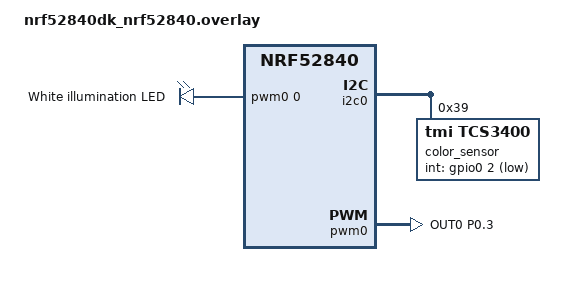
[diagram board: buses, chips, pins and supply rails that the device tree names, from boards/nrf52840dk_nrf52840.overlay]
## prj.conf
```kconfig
CONFIG_LOG=y

# The white illumination LED is driven by a PWM channel rather than a plain
# GPIO, so brightness can be swept against the sensor's response.
CONFIG_PWM=y

# The sample's runtime controls (gain, integration time, LED level) are
# exposed as shell commands.
CONFIG_SHELL=y
```

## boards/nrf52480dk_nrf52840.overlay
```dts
/ {
	aliases {
		i2c0 = &i2c0;
	};
};

&i2c0 {
	status = "okay";
	pinctrl-0 = <&i2c0_default>;
	pinctrl-1 = <&i2c0_sleep>;
	pinctrl-names = "default", "sleep";

	p1: tcs3400@58 {
		compatible = "tmi,tcs3400";
		reg = <0x58>;
		status = "okay";
		label = "TCS3400";
	};
};
```

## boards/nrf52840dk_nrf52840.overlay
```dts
#include <zephyr/dt-bindings/gpio/gpio.h>
#include <zephyr/dt-bindings/pwm/pwm.h>

/*
 * TCS3400 on i2c0 (P0.26 SDA / P0.27 SCL, the DK defaults), with its INT
 * output on P0.02 and the white illumination LED driven from pwm0 channel 0
 * on P0.03.
 */

&pinctrl {
	pwm0_tcs3400_default: pwm0_tcs3400_default {
		group1 {
			psels = <NRF_PSEL(PWM_OUT0, 0, 3)>;
		};
	};

	pwm0_tcs3400_sleep: pwm0_tcs3400_sleep {
		group1 {
			psels = <NRF_PSEL(PWM_OUT0, 0, 3)>;
			low-power-enable;
		};
	};
};

&i2c0 {
	status = "okay";
	pinctrl-0 = <&i2c0_default>;
	pinctrl-1 = <&i2c0_sleep>;
	pinctrl-names = "default", "sleep";

	/*
	 * The INT output is open-drain and active-low, so it needs a pull-up.
	 * The internal one is requested here rather than fitting an external
	 * resistor, since this is the only device on the line.
	 *
	 * 4x gain over 64 integration cycles (178 ms) is a starting point for
	 * a close-range target under the white LED, not a calibrated setting.
	 * The sample retunes both at runtime through SENSOR_ATTR_GAIN and
	 * SENSOR_ATTR_OVERSAMPLING.
	 */
	color_sensor: tcs3400@39 {
		compatible = "tmi,tcs3400";
		status = "okay";
		reg = <0x39>;
		int-gpios = <&gpio0 2 (GPIO_ACTIVE_LOW | GPIO_PULL_UP)>;
		gain-x = <4>;
		integration-cycles = <64>;
	};
};

&pwm0 {
	status = "okay";
	pinctrl-0 = <&pwm0_tcs3400_default>;
	pinctrl-1 = <&pwm0_tcs3400_sleep>;
	pinctrl-names = "default", "sleep";
};

/ {
	/*
	 * The LED driver takes a single PWM input that acts as both its enable
	 * and its brightness control, so there is no separate enable GPIO -- a
	 * 0% duty cycle is off.
	 *
	 * A 1 ms period puts ~178 full PWM cycles inside the shortest
	 * integration window the sensor is configured for, so brightness is
	 * averaged out rather than beating against the conversion.
	 */
	pwmleds {
		compatible = "pwm-leds";

		white_pwm_led: white_pwm_led {
			pwms = <&pwm0 0 PWM_MSEC(1) PWM_POLARITY_NORMAL>;
			label = "White illumination LED";
		};
	};

	aliases {
		color-sensor = &color_sensor;
		white-led-pwm = &white_pwm_led;
	};
};
```

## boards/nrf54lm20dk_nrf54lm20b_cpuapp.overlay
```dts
#include <zephyr/dt-bindings/gpio/gpio.h>
#include <zephyr/dt-bindings/pwm/pwm.h>

/*
 * Two SoC constraints drive every pin choice below.
 *
 * PWM20/21/22 are the only PWM instances that share a power domain with a
 * GPIO port, and that domain covers P1 and P3 only -- a PWM output routed to
 * P0 or P2 simply never appears on the pin. The white LED therefore has to
 * be driven from P1 or P3.
 *
 * i2c20 and uart20 share one address, and uart20 is the DK's console, so
 * i2c21 is the lowest TWIM instance actually free to use.
 *
 * Everything else is kept on P1 so the whole sample lands on one bank of the
 * DK's GPIO header.
 *
 * P0.00/P0.01 are the DK's LFXO crystal pins and are not general-purpose
 * I/O; nothing here uses them.
 *
 *   SDA   P1.12      SCL   P1.13
 *   INT   P1.10      LED   P1.11
 */

&pinctrl {
	i2c21_tcs3400_default: i2c21_tcs3400_default {
		group1 {
			psels = <NRF_PSEL(TWIM_SDA, 1, 12)>,
				<NRF_PSEL(TWIM_SCL, 1, 13)>;
			bias-pull-up;
		};
	};

	i2c21_tcs3400_sleep: i2c21_tcs3400_sleep {
		group1 {
			psels = <NRF_PSEL(TWIM_SDA, 1, 12)>,
				<NRF_PSEL(TWIM_SCL, 1, 13)>;
			low-power-enable;
		};
	};

	pwm21_tcs3400_default: pwm21_tcs3400_default {
		group1 {
			psels = <NRF_PSEL(PWM_OUT0, 1, 11)>;
		};
	};

	pwm21_tcs3400_sleep: pwm21_tcs3400_sleep {
		group1 {
			psels = <NRF_PSEL(PWM_OUT0, 1, 11)>;
			low-power-enable;
		};
	};
};

&i2c21 {
	status = "okay";
	pinctrl-0 = <&i2c21_tcs3400_default>;
	pinctrl-1 = <&i2c21_tcs3400_sleep>;
	pinctrl-names = "default", "sleep";

	/*
	 * The INT output is open-drain and active-low, so it needs a pull-up.
	 * The internal one is requested here rather than fitting an external
	 * resistor, since this is the only device on the line.
	 *
	 * 4x gain over 64 integration cycles (178 ms) is a starting point for
	 * a close-range target under the white LED, not a calibrated setting.
	 * The sample retunes both at runtime through SENSOR_ATTR_GAIN and
	 * SENSOR_ATTR_OVERSAMPLING; the driver logs a warning when the
	 * channels saturate.
	 */
	color_sensor: tcs3400@39 {
		compatible = "tmi,tcs3400";
		status = "okay";
		reg = <0x39>;
		int-gpios = <&gpio1 10 (GPIO_ACTIVE_LOW | GPIO_PULL_UP)>;
		gain-x = <4>;
		integration-cycles = <64>;
	};
};

&pwm21 {
	status = "okay";
	pinctrl-0 = <&pwm21_tcs3400_default>;
	pinctrl-1 = <&pwm21_tcs3400_sleep>;
	pinctrl-names = "default", "sleep";
};

/ {
	/*
	 * The LED driver takes a single PWM input that acts as both its enable
	 * and its brightness control, so there is no separate enable GPIO -- a
	 * 0% duty cycle is off.
	 *
	 * Merges into the board's existing pwmleds node. A 1 ms period puts
	 * ~178 full PWM cycles inside the shortest integration window the
	 * sensor is configured for, so brightness is averaged out rather than
	 * beating against the conversion.
	 */
	pwmleds {
		compatible = "pwm-leds";

		white_pwm_led: white_pwm_led {
			pwms = <&pwm21 0 PWM_MSEC(1) PWM_POLARITY_NORMAL>;
			label = "White illumination LED";
		};
	};

	aliases {
		color-sensor = &color_sensor;
		white-led-pwm = &white_pwm_led;
	};
};
```

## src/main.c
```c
/*
 * Copyright (c) 2026 Trudell Medical International
 * SPDX-License-Identifier: Apache-2.0
 *
 * TCS3400 RGBC colour sensor sample.
 *
 * Exercises the tmi,tcs3400 driver against a white illumination LED on a PWM
 * channel. The board overlay supplies both: a "color-sensor" alias for the
 * sensor node and a "white-led-pwm" alias for the LED.
 *
 * The LED ramps up and down continuously and samples stream out in teleplot
 * format (">name:value" per line) for the VS Code serial plotter, so the plot
 * sweeps the sensor's range against a known stimulus. One ramp step per
 * sample keeps the light level and the reading in lockstep. Sampling is
 * driven by the data-ready interrupt where the overlay wires an int-gpios
 * pin, and by polling otherwise.
 *
 * Gain, integration time and LED level can be retuned at runtime through the
 * "colour" shell command.
 */

#include <zephyr/kernel.h>
#include <zephyr/device.h>
#include <zephyr/drivers/pwm.h>
#include <zephyr/drivers/sensor.h>
#include <zephyr/logging/log.h>
#include <zephyr/shell/shell.h>
#include <stdlib.h>

LOG_MODULE_REGISTER(tcs3400_sample);

/*
 * Brightness change per sample, as a percentage of full scale. 2% puts a
 * full up-and-down sweep in 100 samples, which is about 18 s at the
 * overlay's default 64 integration cycles.
 */
#define RAMP_STEP_PCT 2

/*
 * Longest a conversion can take: 256 integration cycles at 2.78 ms, plus
 * margin. Used as the interrupt wait timeout, so a missing or miswired INT
 * line shows up as a warning instead of a silent stall.
 */
#define SAMPLE_TIMEOUT_MS 1000

/* Sample interval when no data-ready interrupt is available. */
#define POLL_INTERVAL_MS 200

static const struct device *const sensor = DEVICE_DT_GET(DT_ALIAS(color_sensor));
static const struct pwm_dt_spec white_led = PWM_DT_SPEC_GET(DT_ALIAS(white_led_pwm));

static K_SEM_DEFINE(sample_ready, 0, 1);

/* Guards everything below against concurrent shell access. */
static K_MUTEX_DEFINE(colour_lock);
static struct sensor_value latest[4];
static bool sample_valid;
static bool streaming = true;
static bool ramping = true;
static uint8_t led_pct;
static bool ramp_rising = true;

/* Set once during startup; read by the sample loop to pick its wait strategy. */
static bool trigger_active;

static int white_led_set_pct(uint8_t pct)
{
	uint32_t pulse = (uint32_t)(((uint64_t)white_led.period * pct) / 100U);

	return pwm_set_pulse_dt(&white_led, pulse);
}

/*
 * Advance the fade one step, turning around at either end. Caller holds
 * colour_lock.
 */
static void ramp_advance(void)
{
	if (ramp_rising) {
		if (led_pct >= 100U - RAMP_STEP_PCT) {
			led_pct = 100U;
			ramp_rising = false;
		} else {
			led_pct += RAMP_STEP_PCT;
		}
	} else {
		if (led_pct <= RAMP_STEP_PCT) {
			led_pct = 0U;
			ramp_rising = true;
		} else {
			led_pct -= RAMP_STEP_PCT;
		}
	}

	int err = white_led_set_pct(led_pct);

	if (err) {
		LOG_ERR("failed to set white LED brightness (%d)", err);
	}
}

static void colour_data_ready(const struct device *dev, const struct sensor_trigger *trig)
{
	ARG_UNUSED(dev);
	ARG_UNUSED(trig);

	k_sem_give(&sample_ready);
}

/*
 * Register the data-ready trigger, falling back to polling rather than
 * failing: an overlay without the INT line wired still produces readings,
 * just on a timer.
 */
static void colour_trigger_init(void)
{
	static const struct sensor_trigger trig = {
		.type = SENSOR_TRIG_DATA_READY,
		.chan = SENSOR_CHAN_ALL,
	};

	int err = sensor_trigger_set(sensor, &trig, colour_data_ready);

	if (err) {
		LOG_WRN("data-ready trigger unavailable (%d), polling every %d ms", err,
			POLL_INTERVAL_MS);
		return;
	}

	trigger_active = true;
}

static void wait_for_sample(void)
{
	if (!trigger_active) {
		k_msleep(POLL_INTERVAL_MS);
		return;
	}

	if (k_sem_take(&sample_ready, K_MSEC(SAMPLE_TIMEOUT_MS)) != 0) {
		LOG_WRN("no data-ready interrupt for %d ms, check the INT wiring",
			SAMPLE_TIMEOUT_MS);
	}
}

static void colour_thread(void *p1, void *p2, void *p3)
{
	ARG_UNUSED(p1);
	ARG_UNUSED(p2);
	ARG_UNUSED(p3);

	if (!device_is_ready(sensor)) {
		LOG_ERR("colour sensor %s not ready", sensor->name);
		return;
	}

	if (!pwm_is_ready_dt(&white_led)) {
		LOG_ERR("white LED PWM %s not ready", white_led.dev->name);
		return;
	}

	if (white_led_set_pct(led_pct) != 0) {
		return;
	}

	colour_trigger_init();

	LOG_INF("TCS3400 ready, LED ramping, sampling on %s",
		trigger_active ? "the data-ready interrupt" : "a timer");

	while (1) {
		struct sensor_value crgb[4];

		wait_for_sample();

		int err = sensor_sample_fetch(sensor);

		if (err) {
			LOG_ERR("sample fetch failed (%d)", err);
			k_msleep(POLL_INTERVAL_MS);
			continue;
		}

		err = sensor_channel_get(sensor, SENSOR_CHAN_ALL, crgb);
		if (err) {
			LOG_ERR("channel get failed (%d)", err);
			k_msleep(POLL_INTERVAL_MS);
			continue;
		}

		k_mutex_lock(&colour_lock, K_FOREVER);

		memcpy(latest, crgb, sizeof(latest));
		sample_valid = true;

		if (streaming) {
			/*
			 * Teleplot format for the VS Code serial plotter: one
			 * ">name:value" per line. The LED level rides along as
			 * its own series so the stimulus and the response can
			 * be read off the same plot.
			 */
			LOG_PRINTK(">C:%d\n>R:%d\n>G:%d\n>B:%d\n>LED:%u\n", latest[0].val1,
				   latest[1].val1, latest[2].val1, latest[3].val1, led_pct);
		}

		if (ramping) {
			ramp_advance();
		}

		k_mutex_unlock(&colour_lock);
	}
}

/* Runs from boot: the sensor and LED are live as soon as the image starts. */
K_THREAD_DEFINE(colour_tid, 1024, colour_thread, NULL, NULL, NULL, 10, 0, 0);

static int cmd_start(const struct shell *sh, size_t argc, char **argv)
{
	ARG_UNUSED(argc);
	ARG_UNUSED(argv);

	k_mutex_lock(&colour_lock, K_FOREVER);
	streaming = true;
	k_mutex_unlock(&colour_lock);

	shell_print(sh, "colour streaming started");
	return 0;
}

static int cmd_stop(const struct shell *sh, size_t argc, char **argv)
{
	ARG_UNUSED(argc);
	ARG_UNUSED(argv);

	k_mutex_lock(&colour_lock, K_FOREVER);
	streaming = false;
	k_mutex_unlock(&colour_lock);

	shell_print(sh, "colour streaming stopped");
	return 0;
}

static int cmd_read(const struct shell *sh, size_t argc, char **argv)
{
	ARG_UNUSED(argc);
	ARG_UNUSED(argv);

	struct sensor_value crgb[4];
	uint8_t pct;
	bool valid;

	k_mutex_lock(&colour_lock, K_FOREVER);
	memcpy(crgb, latest, sizeof(crgb));
	pct = led_pct;
	valid = sample_valid;
	k_mutex_unlock(&colour_lock);

	if (!valid) {
		shell_error(sh, "no sample yet");
		return -EAGAIN;
	}

	shell_print(sh, "clear %d, red %d, green %d, blue %d (LED %u%%)", crgb[0].val1,
		    crgb[1].val1, crgb[2].val1, crgb[3].val1, pct);
	return 0;
}

static int cmd_ramp(const struct shell *sh, size_t argc, char **argv)
{
	ARG_UNUSED(argc);
	ARG_UNUSED(argv);

	k_mutex_lock(&colour_lock, K_FOREVER);
	ramping = true;
	k_mutex_unlock(&colour_lock);

	shell_print(sh, "LED ramp started");
	return 0;
}

static int cmd_led(const struct shell *sh, size_t argc, char **argv)
{
	ARG_UNUSED(argc);

	char *end;
	long pct = strtol(argv[1], &end, 0);

	if (*end != '\0' || pct < 0 || pct > 100) {
		shell_error(sh, "brightness must be 0-100, got '%s'", argv[1]);
		return -EINVAL;
	}

	k_mutex_lock(&colour_lock, K_FOREVER);

	/* The ramp would move the level again on its next sample. */
	if (ramping) {
		ramping = false;
		shell_print(sh, "ramp stopped so the level stays put");
	}

	led_pct = (uint8_t)pct;

	int err = white_led_set_pct(led_pct);

	k_mutex_unlock(&colour_lock);

	if (err) {
		shell_error(sh, "failed to set brightness (%d)", err);
		return err;
	}

	shell_print(sh, "white LED at %ld%%", pct);
	return 0;
}

static int cmd_gain(const struct shell *sh, size_t argc, char **argv)
{
	ARG_UNUSED(argc);

	char *end;
	long gain = strtol(argv[1], &end, 0);

	if (*end != '\0' || gain < 1 || gain > 64) {
		shell_error(sh, "gain must be 1, 4, 16 or 64, got '%s'", argv[1]);
		return -EINVAL;
	}

	struct sensor_value val = {.val1 = (int32_t)gain, .val2 = 0};
	int err = sensor_attr_set(sensor, SENSOR_CHAN_LIGHT, SENSOR_ATTR_GAIN, &val);

	if (err) {
		shell_error(sh, "failed to set gain (%d)", err);
		return err;
	}

	/* The driver rounds up to the nearest gain the hardware can do. */
	err = sensor_attr_get(sensor, SENSOR_CHAN_LIGHT, SENSOR_ATTR_GAIN, &val);
	if (err) {
		shell_error(sh, "failed to read back gain (%d)", err);
		return err;
	}

	shell_print(sh, "gain %dx", val.val1);
	return 0;
}

static int cmd_integration(const struct shell *sh, size_t argc, char **argv)
{
	ARG_UNUSED(argc);

	char *end;
	long cycles = strtol(argv[1], &end, 0);

	if (*end != '\0' || cycles < 1 || cycles > 256) {
		shell_error(sh, "cycles must be 1-256, got '%s'", argv[1]);
		return -EINVAL;
	}

	struct sensor_value val = {.val1 = (int32_t)cycles, .val2 = 0};
	int err = sensor_attr_set(sensor, SENSOR_CHAN_LIGHT, SENSOR_ATTR_OVERSAMPLING, &val);

	if (err) {
		shell_error(sh, "failed to set integration cycles (%d)", err);
		return err;
	}

	shell_print(sh, "%ld integration cycles (%ld us)", cycles, cycles * 2780);
	return 0;
}

SHELL_STATIC_SUBCMD_SET_CREATE(
	sub_colour, SHELL_CMD_ARG(start, NULL, "Start streaming colour samples", cmd_start, 1, 0),
	SHELL_CMD_ARG(stop, NULL, "Stop streaming colour samples", cmd_stop, 1, 0),
	SHELL_CMD_ARG(read, NULL, "Print the most recent sample", cmd_read, 1, 0),
	SHELL_CMD_ARG(ramp, NULL, "Resume the white LED ramp", cmd_ramp, 1, 0),
	SHELL_CMD_ARG(led, NULL,
		      "Stop the ramp and hold a brightness, 0 is off\n"
		      "Usage: colour led <0-100>",
		      cmd_led, 2, 0),
	SHELL_CMD_ARG(gain, NULL,
		      "Set the RGBC analog gain\n"
		      "Usage: colour gain <1|4|16|64>",
		      cmd_gain, 2, 0),
	SHELL_CMD_ARG(integration, NULL,
		      "Set the number of integration cycles\n"
		      "Usage: colour integration <1-256>",
		      cmd_integration, 2, 0),
	SHELL_SUBCMD_SET_END);

SHELL_CMD_REGISTER(colour, &sub_colour, "TCS3400 colour sensing", NULL);
```
